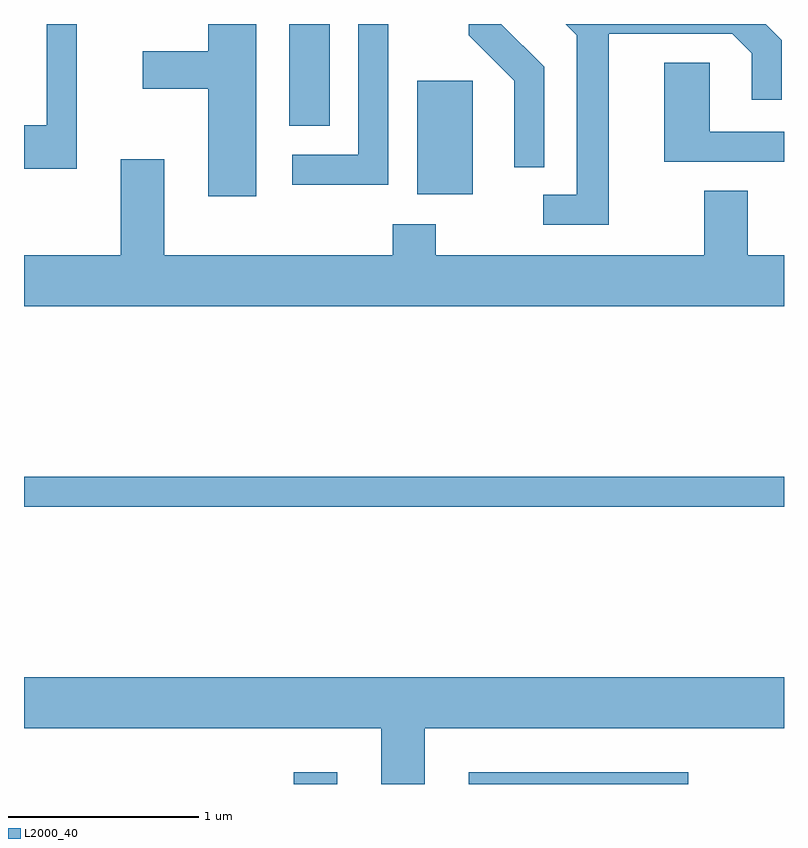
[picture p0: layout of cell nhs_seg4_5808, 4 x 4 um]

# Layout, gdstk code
import gdstk
lib = gdstk.Library(unit=1e-6, precision=1e-09)
def R(c, l, rs):  # rectangles x0, y0, x1, y1
    for r in rs: c.add(gdstk.rectangle(r[:2], r[2:], *l))
def P(c, l, *ps):  # polygons
    for p in ps: c.add(gdstk.Polygon(p, *l))
L2000_40 = (2000, 40)

nhs_seg4_5808 = lib.new_cell('nhs_seg4_5808')
R(nhs_seg4_5808, L2000_40, [(357.031,1309.982,357.259,1310.044), (357.951,1309.982,359.108,1310.044), (355.611,1311.441,359.611,1311.599), (357.681,1313.086,357.974,1313.684), (357.006,1313.446,357.219,1313.982)])
P(nhs_seg4_5808, L2000_40, [(357.529,1313.982),(357.371,1313.982),(357.371,1313.294),(357.023,1313.294),(357.023,1313.136),(357.529,1313.136)],
  [(358.349,1313.757),(358.124,1313.982),(357.951,1313.982),(357.951,1313.924),(358.191,1313.684),(358.191,1313.228),(358.349,1313.228)],
  [(356.834,1313.982),(356.581,1313.982),(356.581,1313.839),(356.236,1313.839),(356.236,1313.641),(356.581,1313.641),(356.581,1313.076),(356.834,1313.076)],
  [(358.689,1313.931),(359.339,1313.931),(359.441,1313.829),(359.441,1313.583),(359.599,1313.583),(359.599,1313.897),(359.514,1313.982),(358.463,1313.982),(358.521,1313.924),(358.521,1313.084),(358.343,1313.084),(358.343,1312.926),(358.689,1312.926)],
  [(355.889,1313.982),(355.731,1313.982),(355.731,1313.449),(355.611,1313.449),(355.611,1313.221),(355.889,1313.221)],
  [(359.611,1313.414),(359.219,1313.414),(359.219,1313.779),(358.981,1313.779),(358.981,1313.256),(359.611,1313.256)],
  [(359.611,1312.764),(359.419,1312.764),(359.419,1313.104),(359.191,1313.104),(359.191,1312.764),(357.779,1312.764),(357.779,1312.929),(357.551,1312.929),(357.551,1312.764),(356.349,1312.764),(356.349,1313.269),(356.121,1313.269),(356.121,1312.764),(355.611,1312.764),(355.611,1312.496),(359.611,1312.496)],
  [(357.719,1310.276),(359.611,1310.276),(359.611,1310.544),(355.611,1310.544),(355.611,1310.276),(357.491,1310.276),(357.491,1309.982),(357.719,1309.982)])

lib.write_gds('nhs_seg4_5808.gds')
